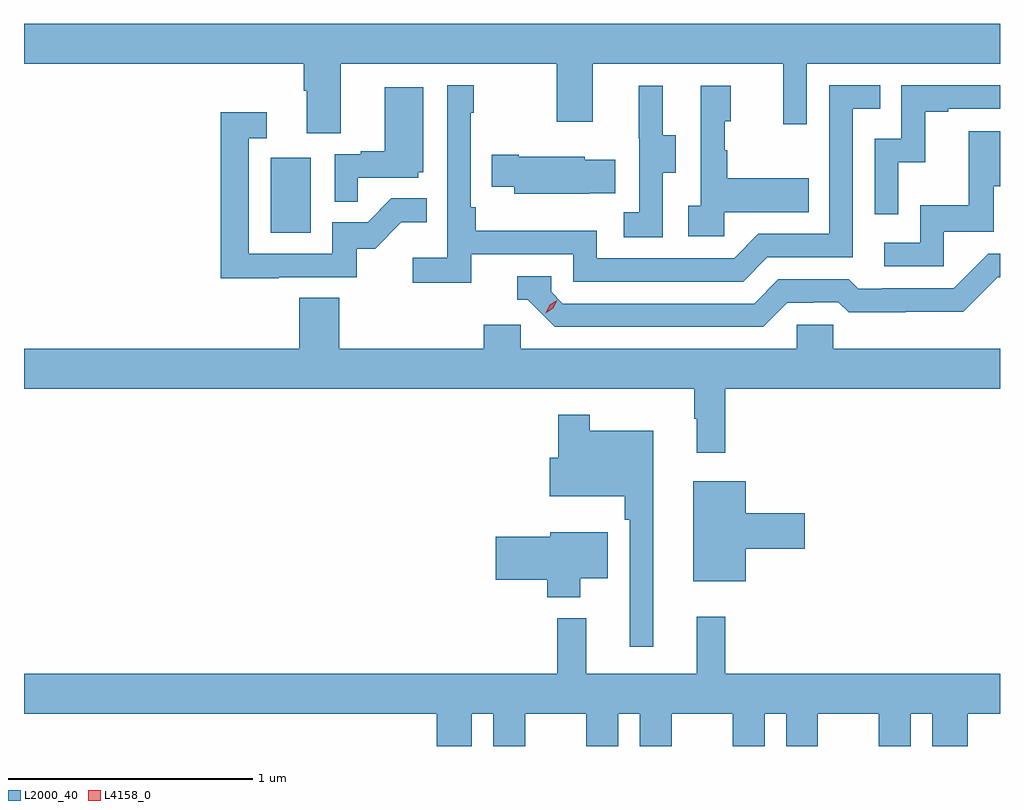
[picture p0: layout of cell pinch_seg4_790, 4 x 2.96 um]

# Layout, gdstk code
import gdstk
lib = gdstk.Library(unit=1e-6, precision=1e-09)
def R(c, l, rs):  # rectangles x0, y0, x1, y1
    for r in rs: c.add(gdstk.rectangle(r[:2], r[2:], *l))
def P(c, l, *ps):  # polygons
    for p in ps: c.add(gdstk.Polygon(p, *l))
L2000_40 = (2000, 40)
L4158_0 = (4158, 0)

pinch_seg4_790 = lib.new_cell('pinch_seg4_790')
R(pinch_seg4_790, L2000_40, [(805.124,821.436,805.288,821.743)])
P(pinch_seg4_790, L2000_40, [(805.411,822.128),(806.296,822.128),(806.296,821.889),(806.443,821.889),(806.443,822.128),(807.224,822.128),(807.224,821.88),(807.321,821.88),(807.321,822.128),(808.113,822.128),(808.113,822.292),(804.113,822.292),(804.113,822.128),(805.259,822.128),(805.259,822.016),(805.271,822.016),(805.271,821.842),(805.411,821.842)],
  [(805.946,821.346),(806.364,821.346),(806.364,821.235),(807.061,821.235),(807.16,821.334),(807.51,821.334),(807.51,821.943),(807.623,821.943),(807.623,822.039),(807.414,822.039),(807.414,821.43),(807.123,821.43),(807.024,821.331),(806.46,821.331),(806.46,821.443),(805.964,821.443),(805.964,821.539),(805.944,821.539),(805.944,821.927),(805.957,821.927),(805.957,822.04),(805.848,822.04),(805.848,821.332),(805.707,821.332),(805.707,821.23),(805.946,821.23)],
  [(807.696,821.723),(807.806,821.723),(807.806,821.931),(807.901,821.931),(807.901,821.943),(808.113,821.943),(808.113,822.039),(807.708,822.039),(807.708,821.82),(807.6,821.82),(807.6,821.511),(807.696,821.511)],
  [(806.982,821.519),(807.329,821.519),(807.329,821.659),(806.995,821.659),(806.995,821.774),(806.985,821.774),(806.985,821.892),(807.01,821.892),(807.01,822.037),(806.886,822.037),(806.886,821.546),(806.835,821.546),(806.835,821.421),(806.982,821.421)],
  [(806.73,821.68),(806.785,821.68),(806.785,821.835),(806.731,821.835),(806.731,822.037),(806.633,822.037),(806.633,821.823),(806.634,821.823),(806.634,821.519),(806.571,821.519),(806.571,821.416),(806.73,821.416)],
  [(805.481,821.661),(805.728,821.661),(805.728,821.682),(805.75,821.682),(805.75,822.031),(805.592,822.031),(805.592,821.77),(805.493,821.77),(805.493,821.757),(805.386,821.757),(805.386,821.563),(805.481,821.563)],
  [(805.157,821.253),(805.476,821.253),(805.476,821.37),(805.552,821.37),(805.659,821.477),(805.763,821.477),(805.763,821.576),(805.619,821.576),(805.521,821.478),(805.377,821.478),(805.377,821.349),(805.035,821.349),(805.035,821.823),(805.108,821.823),(805.108,821.929),(804.919,821.929),(804.919,821.248),(805.157,821.248)],
  [(807.882,821.439),(808.087,821.439),(808.087,821.625),(808.113,821.625),(808.113,821.851),(807.985,821.851),(807.985,821.548),(807.786,821.548),(807.786,821.394),(807.639,821.394),(807.639,821.298),(807.882,821.298)],
  [(806.429,821.597),(806.537,821.597),(806.537,821.734),(806.412,821.734),(806.412,821.746),(806.14,821.746),(806.14,821.754),(806.029,821.754),(806.029,821.624),(806.123,821.624),(806.123,821.594),(806.429,821.594)],
  [(807.241,821.148),(807.348,821.148),(807.348,821.151),(807.451,821.151),(807.493,821.109),(807.726,821.109),(807.726,821.111),(807.962,821.111),(808.104,821.253),(808.113,821.253),(808.113,821.349),(808.065,821.349),(807.924,821.208),(807.631,821.208),(807.631,821.205),(807.532,821.205),(807.493,821.244),(807.204,821.244),(807.105,821.145),(806.322,821.145),(806.274,821.193),(806.274,821.256),(806.135,821.256),(806.135,821.16),(806.178,821.16),(806.289,821.049),(807.142,821.049)],
  [(806.148,821.058),(805.997,821.058),(805.997,820.96),(805.406,820.96),(805.406,821.168),(805.241,821.168),(805.241,820.96),(804.113,820.96),(804.113,820.796),(806.859,820.796),(806.859,820.673),(806.87,820.673),(806.87,820.533),(806.987,820.533),(806.987,820.796),(808.113,820.796),(808.113,820.96),(807.429,820.96),(807.429,821.058),(807.279,821.058),(807.279,820.96),(806.148,820.96)],
  [(806.692,820.624),(806.431,820.624),(806.431,820.69),(806.302,820.69),(806.302,820.513),(806.268,820.513),(806.268,820.355),(806.575,820.355),(806.575,820.259),(806.595,820.259),(806.595,819.738),(806.692,819.738)],
  [(807.07,820.139),(807.313,820.139),(807.313,820.286),(807.07,820.286),(807.07,820.417),(806.855,820.417),(806.855,820.007),(807.07,820.007)],
  [(806.392,820.019),(806.506,820.019),(806.506,820.207),(806.27,820.207),(806.27,820.19),(806.046,820.19),(806.046,820.012),(806.258,820.012),(806.258,819.941),(806.392,819.941)],
  [(805.948,819.464),(806.036,819.464),(806.036,819.33),(806.167,819.33),(806.167,819.464),(806.417,819.464),(806.417,819.33),(806.548,819.33),(806.548,819.464),(806.636,819.464),(806.636,819.33),(806.767,819.33),(806.767,819.464),(807.017,819.464),(807.017,819.33),(807.148,819.33),(807.148,819.464),(807.236,819.464),(807.236,819.33),(807.367,819.33),(807.367,819.464),(807.617,819.464),(807.617,819.33),(807.748,819.33),(807.748,819.464),(807.836,819.464),(807.836,819.33),(807.98,819.33),(807.98,819.464),(808.113,819.464),(808.113,819.628),(806.987,819.628),(806.987,819.862),(806.87,819.862),(806.87,819.628),(806.417,819.628),(806.417,819.856),(806.299,819.856),(806.299,819.628),(804.113,819.628),(804.113,819.464),(805.805,819.464),(805.805,819.33),(805.948,819.33)])
P(pinch_seg4_790, L4158_0, [(806.252,821.106),(806.252,821.106),(806.268,821.139),(806.298,821.159),(806.298,821.159),(806.298,821.159),(806.283,821.126),(806.252,821.106)])

lib.write_gds('pinch_seg4_790.gds')
